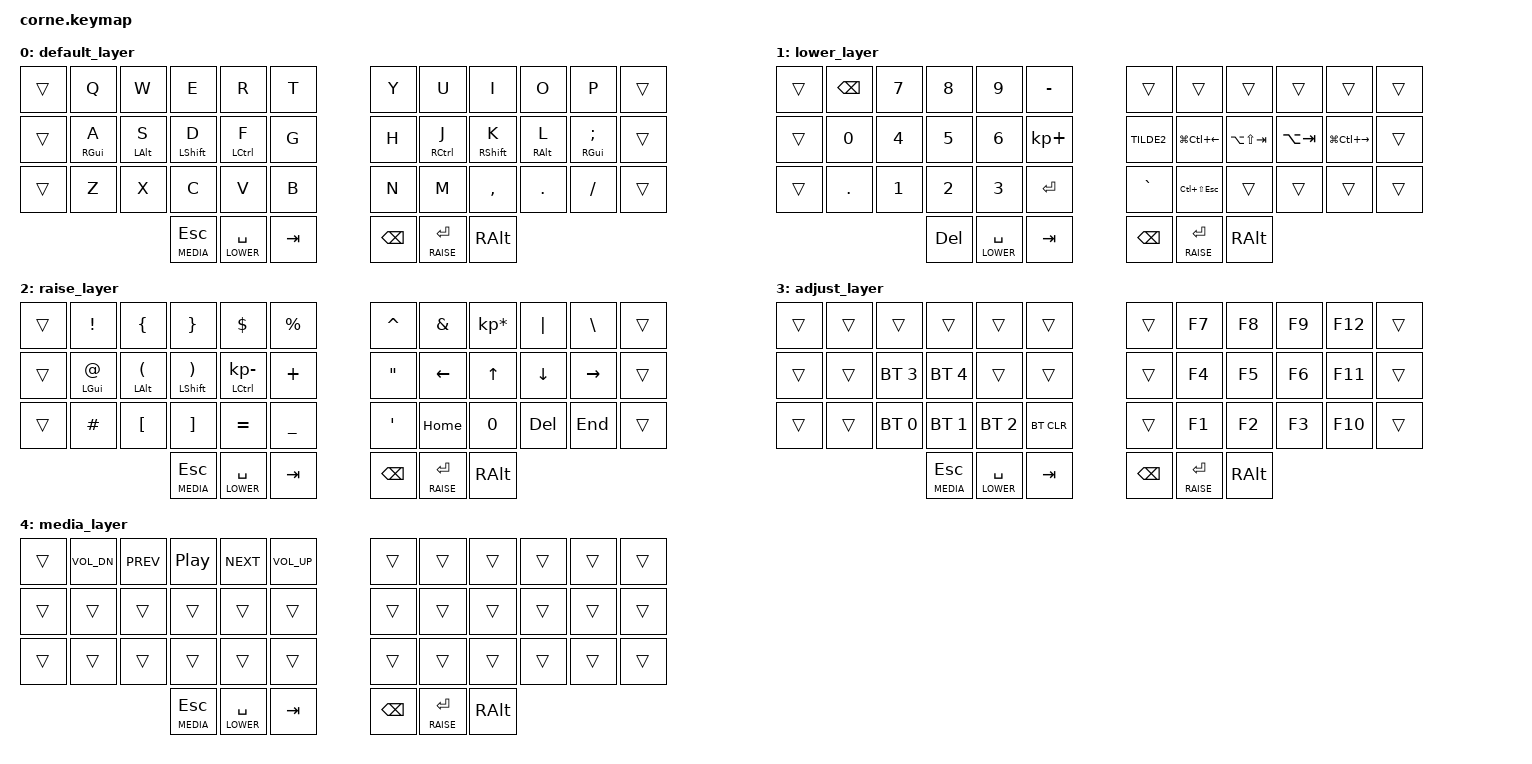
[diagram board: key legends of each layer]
/*
 * Copyright (c) 2020 The ZMK Contributors
 *
 * SPDX-License-Identifier: MIT
 */

#include <behaviors.dtsi>
#include <dt-bindings/zmk/bt.h>
#include <dt-bindings/zmk/keys.h>

#define DEFAULT 0
#define LOWER   1
#define RAISE   2
#define ADJUST  3
#define MEDIA   4
#define LEFT_DESK LG(LC(LEFT))
#define RIGHT_DESK LG(LC(RIGHT))
#define TASK_MAN LC(LS(ESC))
#define LEFT_TAB LA(LS(TAB))
#define RIGTH_TAB LA(TAB)

&mt {
    tapping-term-ms = <140>;
    flavor = "tap-preferred";
};

/ {
    combos {
        compatible = "zmk,combos";

        email_main {
            bindings = <&email_main>;
            key-positions = <17 3>;
            layers = <0>;
        };

        email_itboom {
            bindings = <&email_itboom>;
            key-positions = <3 29>;
            layers = <0>;
        };
    };

    macros {
        email_main: email_main {
            compatible = "zmk,behavior-macro";
            #binding-cells = <0>;
            bindings = <&kp J &kp A &kp K &kp U &kp B &kp DOT &kp G &kp O &kp L &kp I &kp S &kp Z &kp E &kp W &kp S &kp K &kp I &kp N0 &kp N1 &kp AT &kp G &kp M &kp A &kp I &kp L &kp DOT &kp C &kp O &kp M>;
            label = "EMAIL_MAIN";
        };
        email_itboom: email_itboom {
            compatible = "zmk,behavior-macro";
            #binding-cells = <0>;
            bindings = <&kp J &kp A &kp K &kp U &kp B &kp DOT &kp G &kp O &kp L &kp I &kp S &kp Z &kp E &kp W &kp S &kp K &kp I &kp AT &kp I &kp T &kp B &kp O &kp O &kp M &kp DOT &kp P &kp L>;
            label = "EMAIL_ITBOOM";
        };
    };

    keymap {
        compatible = "zmk,keymap";

        default_layer {
            // -----------------------------------------------------------------------------------------
            // |      |  Q  |  W  |  E  |  R  |  T  |   |  Y  |  U  |  I  |  O  |  P  |      |
            // |      |  A  |  S  |  D  |  F  |  G  |   |  H  |  J  |  K  |  L  |  ;  |      |
            // |      |  Z  |  X  |  C  |  V  |  B  |   |  N  |  M  |  ,  |  .  |  /  |      |
            //                    |     |     |     |   |     |     |     |

            bindings = <
&trans  &kp Q       &kp W       &kp E          &kp R            &kp T      &kp Y     &kp U            &kp I        &kp O       &kp P          &trans
&trans  &mt RGUI A  &mt LALT S  &mt LSHFT D    &mt LCTRL F      &kp G      &kp H     &mt RCTRL J      &mt RSHFT K  &mt RALT L  &mt RGUI SEMI  &trans
&trans  &kp Z       &kp X       &kp C          &kp V            &kp B      &kp N     &kp M            &kp COMMA    &kp DOT     &kp FSLH       &trans
                                &lt MEDIA ESC  &lt LOWER SPACE  &kp TAB    &kp BSPC  &lt RAISE ENTER  &kp RALT
            >;
        };

        lower_layer {
            // -----------------------------------------------------------------------------------------
            // |      |     |     |     |     |     |   |     |     |     |     |     |      |
            // |      |     |     |     |     |     |   |     |     |     |     |     |      |
            // |      |     |     |     |     |     |   |     |     |     |     |     |      |
            //                    |     |     |     |   |     |     |     |

            bindings = <
&trans  &kp BSPC  &kp N7  &kp N8   &kp N9           &kp MINUS      &trans      &trans           &trans    &trans  &trans          &trans
&trans  &kp N0    &kp N4  &kp N5   &kp N6           &kp KP_PLUS    &kp TILDE2  &kp LEFT_DESK    &kp LEFT_TAB    &kp RIGTH_TAB  &kp RIGHT_DESK  &trans
&trans  &kp DOT   &kp N1  &kp N2   &kp N3           &kp ENTER      &kp GRAVE   &kp TASK_MAN     &trans    &trans  &trans          &trans
                          &kp DEL  &lt LOWER SPACE  &kp TAB        &kp BSPC    &lt RAISE ENTER  &kp RALT
            >;
        };

        raise_layer {
            // -----------------------------------------------------------------------------------------
            // |      |     |     |     |     |     |   |     |     |     |     |     |      |
            // |      |     |     |     |     |     |   |     |     |     |     |     |      |
            // |      |     |     |     |     |     |   |     |     |     |     |     |      |
            //                    |     |     |     |   |     |     |     |

            bindings = <
&trans  &kp EXCL     &kp LBRC       &kp RBRC        &kp DLLR            &kp PRCNT    &kp CARET  &kp AMPS         &kp KP_MULTIPLY  &kp PIPE  &kp BSLH   &trans
&trans  &mt LGUI AT  &mt LALT LPAR  &mt LSHFT RPAR  &mt LCTRL KP_MINUS  &kp PLUS     &kp DQT    &kp LEFT         &kp UP           &kp DOWN  &kp RIGHT  &trans
&trans  &kp HASH     &kp LBKT       &kp RBKT        &kp EQUAL           &kp UNDER    &kp APOS   &kp HOME         &kp N0           &kp DEL   &kp END    &trans
                                    &lt MEDIA ESC   &lt LOWER SPACE     &kp TAB      &kp BSPC   &lt RAISE ENTER  &kp RALT
            >;
        };

        adjust_layer {
            // -----------------------------------------------------------------------------------------
            // |      |     |     |     |     |     |   |     |     |     |     |     |      |
            // |      |     |     |     |     |     |   |     |     |     |     |     |      |
            // |      |     |     |     |     |     |   |     |     |     |     |     |      |
            //                    |     |     |     |   |     |     |     |

            bindings = <
&trans  &trans  &trans        &trans         &trans           &trans        &trans    &kp F7           &kp F8    &kp F9  &kp F12  &trans
&trans  &trans  &bt BT_SEL 3  &bt BT_SEL 4   &trans           &trans        &trans    &kp F4           &kp F5    &kp F6  &kp F11  &trans
&trans  &trans  &bt BT_SEL 0  &bt BT_SEL 1   &bt BT_SEL 2     &bt BT_CLR    &trans    &kp F1           &kp F2    &kp F3  &kp F10  &trans
                              &lt MEDIA ESC  &lt LOWER SPACE  &kp TAB       &kp BSPC  &lt RAISE ENTER  &kp RALT
            >;
        };

        media_layer {
            // -----------------------------------------------------------------------------------------
            // |      |     |     |     |     |     |   |     |     |     |     |     |      |
            // |      |     |     |     |     |     |   |     |     |     |     |     |      |
            // |      |     |     |     |     |     |   |     |     |     |     |     |      |
            //                    |     |     |     |   |     |     |     |

            bindings = <
&trans  &kp C_VOL_DN  &kp C_PREV  &kp C_PLAY_PAUSE  &kp C_NEXT       &kp C_VOL_UP    &trans    &trans           &trans    &trans  &trans  &trans
&trans  &trans        &trans      &trans            &trans           &trans          &trans    &trans           &trans    &trans  &trans  &trans
&trans  &trans        &trans      &trans            &trans           &trans          &trans    &trans           &trans    &trans  &trans  &trans
                                  &lt MEDIA ESC     &lt LOWER SPACE  &kp TAB         &kp BSPC  &lt RAISE ENTER  &kp RALT
            >;
        };
    };

    conditional_layers {
        compatible = "zmk,conditional-layers";

        tri_layer {
            if-layers = <1 2>;
            then-layer = <3>;
        };
    };
};
